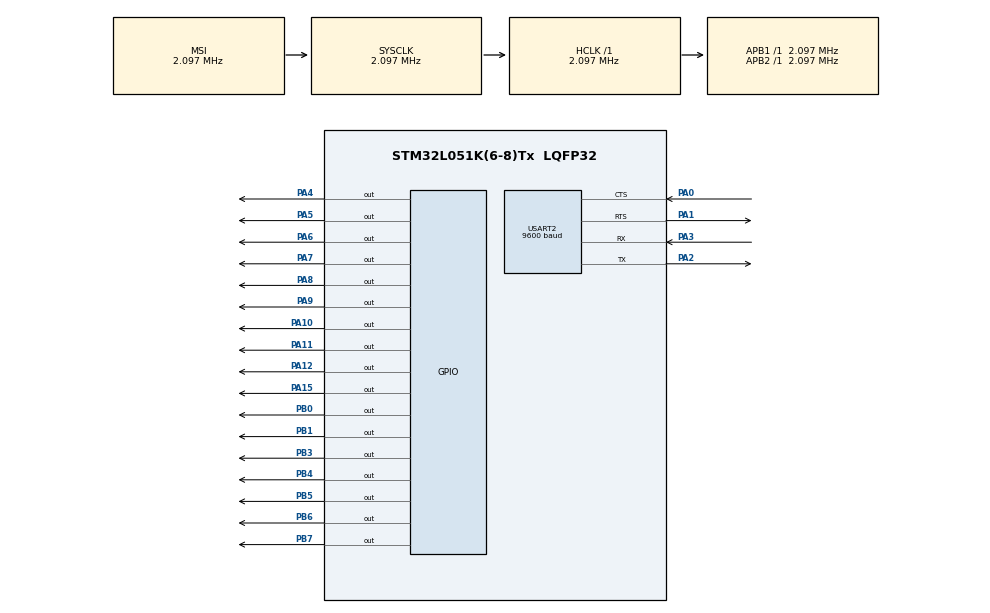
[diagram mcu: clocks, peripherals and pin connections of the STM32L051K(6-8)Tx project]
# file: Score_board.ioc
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Dma.Request0=USART2_RX
Dma.Request1=USART2_TX
Dma.USART2_RX.0.Direction=DMA_PERIPH_TO_MEMORY
Dma.USART2_RX.0.Instance=DMA1_Channel5
Dma.USART2_RX.0.MemDataAlignment=DMA_MDATAALIGN_BYTE
Dma.USART2_RX.0.MemInc=DMA_MINC_ENABLE
Dma.USART2_RX.0.Mode=DMA_CIRCULAR
Dma.USART2_RX.0.PeriphDataAlignment=DMA_PDATAALIGN_BYTE
Dma.USART2_RX.0.PeriphInc=DMA_PINC_DISABLE
Dma.USART2_RX.0.Priority=DMA_PRIORITY_LOW
Dma.USART2_RX.0.Request=DMA_REQUEST_4
Dma.USART2_TX.1.Direction=DMA_MEMORY_TO_PERIPH
Dma.USART2_TX.1.Instance=DMA1_Channel4
Dma.USART2_TX.1.MemDataAlignment=DMA_MDATAALIGN_BYTE
Dma.USART2_TX.1.MemInc=DMA_MINC_ENABLE
Dma.USART2_TX.1.Mode=DMA_NORMAL
Dma.USART2_TX.1.PeriphDataAlignment=DMA_PDATAALIGN_BYTE
Dma.USART2_TX.1.PeriphInc=DMA_PINC_DISABLE
Dma.USART2_TX.1.Priority=DMA_PRIORITY_LOW
Dma.USART2_TX.1.Request=DMA_REQUEST_4
Mcu.Family=STM32L0
Mcu.Name=STM32L051K(6-8)Tx
Mcu.Package=LQFP32
NVIC.DMA1_Channel4_5_6_7_IRQn=true\:0\:0\:false
NVIC.USART2_IRQn=true\:0\:0\:false
PA0-WKUP.Mode=CTS_RTS
PA0-WKUP.Signal=USART2_CTS
PA1.Mode=CTS_RTS
PA1.Signal=USART2_RTS
PA10.GPIO_ModeDefaultOutputPP=GPIO_MODE_OUTPUT_OD
PA10.GPIO_PuPd=GPIO_NOPULL
PA10.GPIO_Speed=GPIO_SPEED_LOW
PA10.Signal=GPIO_Output
PA11.GPIO_ModeDefaultOutputPP=GPIO_MODE_OUTPUT_OD
PA11.GPIO_PuPd=GPIO_NOPULL
PA11.GPIO_Speed=GPIO_SPEED_LOW
PA11.Signal=GPIO_Output
PA12.GPIO_ModeDefaultOutputPP=GPIO_MODE_OUTPUT_OD
PA12.GPIO_PuPd=GPIO_NOPULL
PA12.GPIO_Speed=GPIO_SPEED_LOW
PA12.Signal=GPIO_Output
PA15.GPIO_ModeDefaultOutputPP=GPIO_MODE_OUTPUT_OD
PA15.GPIO_PuPd=GPIO_NOPULL
PA15.GPIO_Speed=GPIO_SPEED_LOW
PA15.Signal=GPIO_Output
PA2.Mode=Asynchronous
PA2.Signal=USART2_TX
PA3.Mode=Asynchronous
PA3.Signal=USART2_RX
PA4.GPIO_ModeDefaultOutputPP=GPIO_MODE_OUTPUT_PP
PA4.GPIO_PuPd=GPIO_PULLDOWN
PA4.GPIO_Speed=GPIO_SPEED_LOW
PA4.Signal=GPIO_Output
PA5.GPIO_ModeDefaultOutputPP=GPIO_MODE_OUTPUT_PP
PA5.GPIO_PuPd=GPIO_PULLDOWN
PA5.GPIO_Speed=GPIO_SPEED_LOW
PA5.Signal=GPIO_Output
PA6.GPIO_ModeDefaultOutputPP=GPIO_MODE_OUTPUT_PP
PA6.GPIO_PuPd=GPIO_PULLDOWN
PA6.GPIO_Speed=GPIO_SPEED_LOW
PA6.Signal=GPIO_Output
PA7.GPIO_ModeDefaultOutputPP=GPIO_MODE_OUTPUT_PP
PA7.GPIO_PuPd=GPIO_PULLDOWN
PA7.GPIO_Speed=GPIO_SPEED_LOW
PA7.Signal=GPIO_Output
PA8.GPIO_ModeDefaultOutputPP=GPIO_MODE_OUTPUT_PP
PA8.GPIO_PuPd=GPIO_PULLDOWN
PA8.GPIO_Speed=GPIO_SPEED_LOW
PA8.Signal=GPIO_Output
PA9.GPIO_ModeDefaultOutputPP=GPIO_MODE_OUTPUT_OD
PA9.GPIO_PuPd=GPIO_NOPULL
PA9.GPIO_Speed=GPIO_SPEED_LOW
PA9.Signal=GPIO_Output
PB0.GPIO_ModeDefaultOutputPP=GPIO_MODE_OUTPUT_PP
PB0.GPIO_PuPd=GPIO_PULLDOWN
PB0.GPIO_Speed=GPIO_SPEED_LOW
PB0.Signal=GPIO_Output
PB1.GPIO_ModeDefaultOutputPP=GPIO_MODE_OUTPUT_PP
PB1.GPIO_PuPd=GPIO_PULLDOWN
PB1.GPIO_Speed=GPIO_SPEED_LOW
PB1.Signal=GPIO_Output
PB3.GPIO_ModeDefaultOutputPP=GPIO_MODE_OUTPUT_OD
PB3.GPIO_PuPd=GPIO_NOPULL
PB3.GPIO_Speed=GPIO_SPEED_LOW
PB3.Signal=GPIO_Output
PB4.GPIO_ModeDefaultOutputPP=GPIO_MODE_OUTPUT_OD
PB4.GPIO_PuPd=GPIO_NOPULL
PB4.GPIO_Speed=GPIO_SPEED_LOW
PB4.Signal=GPIO_Output
PB5.GPIO_ModeDefaultOutputPP=GPIO_MODE_OUTPUT_OD
PB5.GPIO_PuPd=GPIO_NOPULL
PB5.GPIO_Speed=GPIO_SPEED_LOW
PB5.Signal=GPIO_Output
PB6.GPIO_ModeDefaultOutputPP=GPIO_MODE_OUTPUT_OD
PB6.GPIO_PuPd=GPIO_NOPULL
PB6.GPIO_Speed=GPIO_SPEED_LOW
PB6.Signal=GPIO_Output
PB7.GPIO_ModeDefaultOutputPP=GPIO_MODE_OUTPUT_OD
PB7.GPIO_PuPd=GPIO_NOPULL
PB7.GPIO_Speed=GPIO_SPEED_LOW
PB7.Signal=GPIO_Output
ProjectManager.TargetToolchain=MDK-ARM 5.10
RCC.AHBFreq_Value=2097000
RCC.APB1Freq_Value=2097000
RCC.APB1TimFreq_Value=2097000
RCC.APB2Freq_Value=2097000
RCC.APB2TimFreq_Value=2097000
RCC.ClockTypeSysClk=RCC_CLOCKTYPE_SYSCLK
RCC.HSI16_VALUE=16000000
RCC.HSI_VALUE=16000000
RCC.LSE_VALUE=32768
RCC.MSI_VALUE=2097000
RCC.SYSCLKFreq_VALUE=2097000
RCC.Usart2ClockSelection=RCC_USART2CLKSOURCE_HSI
RCC.VCOOutputFreq_Value=48000000
USART2.BaudRate=9600
USART2.WordLength-Asynchronous=UART_WORDLENGTH_8B

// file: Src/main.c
/**
  ******************************************************************************
  * File Name          : main.c
  * Date               : 31/10/2015 14:45:13
  * Description        : Main program body
  ******************************************************************************
  *
  * COPYRIGHT(c) 2015 STMicroelectronics
  *
  * Redistribution and use in source and binary forms, with or without modification,
  * are permitted provided that the following conditions are met:
  *   1. Redistributions of source code must retain the above copyright notice,
  *      this list of conditions and the following disclaimer.
  *   2. Redistributions in binary form must reproduce the above copyright notice,
  *      this list of conditions and the following disclaimer in the documentation
  *      and/or other materials provided with the distribution.
  *   3. Neither the name of STMicroelectronics nor the names of its contributors
  *      may be used to endorse or promote products derived from this software
  *      without specific prior written permission.
  *
  * THIS SOFTWARE IS PROVIDED BY THE COPYRIGHT HOLDERS AND CONTRIBUTORS "AS IS"
  * AND ANY EXPRESS OR IMPLIED WARRANTIES, INCLUDING, BUT NOT LIMITED TO, THE
  * IMPLIED WARRANTIES OF MERCHANTABILITY AND FITNESS FOR A PARTICULAR PURPOSE ARE
  * DISCLAIMED. IN NO EVENT SHALL THE COPYRIGHT HOLDER OR CONTRIBUTORS BE LIABLE
  * FOR ANY DIRECT, INDIRECT, INCIDENTAL, SPECIAL, EXEMPLARY, OR CONSEQUENTIAL
  * DAMAGES (INCLUDING, BUT NOT LIMITED TO, PROCUREMENT OF SUBSTITUTE GOODS OR
  * SERVICES; LOSS OF USE, DATA, OR PROFITS; OR BUSINESS INTERRUPTION) HOWEVER
  * CAUSED AND ON ANY THEORY OF LIABILITY, WHETHER IN CONTRACT, STRICT LIABILITY,
  * OR TORT (INCLUDING NEGLIGENCE OR OTHERWISE) ARISING IN ANY WAY OUT OF THE USE
  * OF THIS SOFTWARE, EVEN IF ADVISED OF THE POSSIBILITY OF SUCH DAMAGE.
  *
  ******************************************************************************
  */

#include "stm32l0xx_hal.h"

/* USER CODE BEGIN Includes */
#include "main.h"
#define Set_LED(num) HAL_GPIO_WritePin(seven_pin[num].GPIOx, seven_pin[num].on_off, GPIO_PIN_SET)
/* USER CODE END Includes */

UART_HandleTypeDef huart2;
DMA_HandleTypeDef hdma_usart2_rx;
DMA_HandleTypeDef hdma_usart2_tx;

/* USER CODE BEGIN PV */
uint8_t UART_Rx_Buffer;
uint8_t UART_Tx_Buffer;
/* USER CODE END PV */

void SystemClock_Config(void);
static void MX_GPIO_Init(void);
static void MX_DMA_Init(void);
static void MX_USART2_UART_Init(void);

/* USER CODE BEGIN PFP */
static void Error_Handler(void);
/* USER CODE END PFP */

/* USER CODE BEGIN 0 */

/*----------------------------------------------------------------------------
  SysTick_Handler
 *----------------------------------------------------------------------------*/

void SysTick_Handler(void)
{
	HAL_IncTick();
	HAL_SYSTICK_IRQHandler();

	if(TimeDelay != 0)
		TimeDelay--;

	if(count_field == 0)
		buzzer();

	if(pause_flag)
	{
		if(count_pause != 0)
			count_pause--;
		else
			buzzer();
		return ;
	}

	if(count_24_sec != 0)
		count_24_sec--;
	else
	{
		if(!disable_24_flag)
		{
			//stop();
			buzzer();
		}
	}
	if(count_field != 0)
		count_field--;

}

/*----------------------------------------------------------------------------
  delays number of tick Systicks
 *----------------------------------------------------------------------------*/
void Delay (int ntime) {
  TimeDelay = ntime;
  while (TimeDelay!=0);
}

struct control_power control[MAX_7_SEGAMENT_LED_NUMBER];
struct control_power buzzers[Buzzer_NUM];
struct control_power seven_pin[7];

/*
start  0
stop   1
pause  2
long pause 3
short pause 4
restart  5
24 sec reset 6

A+1   7
A+2   8
A+3   9
A-1   a

B+1   b
B+2   c
B+3   d
B-1   e

min++  f
min--  g

sec++  h
sec--  i
scores swap  j
*/

void reset_led(){

	HAL_GPIO_WritePin(GPIOA,GPIO_PIN_4,GPIO_PIN_RESET);
	HAL_GPIO_WritePin(GPIOA,GPIO_PIN_5,GPIO_PIN_RESET);
	HAL_GPIO_WritePin(GPIOA,GPIO_PIN_6,GPIO_PIN_RESET);
	HAL_GPIO_WritePin(GPIOA,GPIO_PIN_7,GPIO_PIN_RESET);
	HAL_GPIO_WritePin(GPIOA,GPIO_PIN_8,GPIO_PIN_RESET);
	HAL_GPIO_WritePin(GPIOB,GPIO_PIN_0,GPIO_PIN_RESET);
	HAL_GPIO_WritePin(GPIOB,GPIO_PIN_1,GPIO_PIN_RESET);
}
void control_array_init()
{

	control[0].GPIOx=GPIOA;
	control[0].on_off=GPIO_PIN_9;

	control[1].GPIOx=GPIOA;
	control[1].on_off=GPIO_PIN_10;

	control[2].GPIOx=GPIOA;
	control[2].on_off=GPIO_PIN_11;

	control[3].GPIOx=GPIOA;
	control[3].on_off=GPIO_PIN_12;

	control[4].GPIOx=GPIOA;
	control[4].on_off=GPIO_PIN_15;

	control[5].GPIOx=GPIOB;
	control[5].on_off=GPIO_PIN_3;

	control[6].GPIOx=GPIOB;
	control[6].on_off=GPIO_PIN_4;

	control[7].GPIOx=GPIOB;
	control[7].on_off=GPIO_PIN_5;

	control[8].GPIOx=GPIOB;
	control[8].on_off=GPIO_PIN_6;

	control[9].GPIOx=GPIOB;
	control[9].on_off=GPIO_PIN_7;

	seven_pin[0].GPIOx=GPIOA;
	seven_pin[0].on_off=GPIO_PIN_8;

	seven_pin[1].GPIOx=GPIOA;
	seven_pin[1].on_off=GPIO_PIN_5;

	seven_pin[2].GPIOx=GPIOA;
	seven_pin[2].on_off=GPIO_PIN_6;

	seven_pin[3].GPIOx=GPIOA;
	seven_pin[3].on_off=GPIO_PIN_7;

	seven_pin[4].GPIOx=GPIOB;
	seven_pin[4].on_off=GPIO_PIN_0;

	seven_pin[5].GPIOx=GPIOB;
	seven_pin[5].on_off=GPIO_PIN_1;

	seven_pin[6].GPIOx=GPIOA;
	seven_pin[6].on_off=GPIO_PIN_4;
}

void shownumber(unsigned int No_led, unsigned int number)
{

	int count=0;
	reset_led();
	for(;count<MAX_7_SEGAMENT_LED_NUMBER;count++)//switch to the target led
	{
			HAL_GPIO_WritePin(control[count].GPIOx,control[count].on_off,GPIO_PIN_SET);
	}
	HAL_GPIO_WritePin(control[No_led].GPIOx,control[No_led].on_off,GPIO_PIN_RESET);
	switch(number)
	{
		case 0:
			Set_LED(0);
			Set_LED(1);
			Set_LED(2);
			Set_LED(3);
			Set_LED(4);
			Set_LED(5);
		break;
		case 1:
			Set_LED(4);
			Set_LED(5);
			break;
		case 2:
			Set_LED(0);
			Set_LED(2);
			Set_LED(3);
			Set_LED(5);
			Set_LED(6);
			break;
		case 3:
			Set_LED(0);
			Set_LED(3);
			Set_LED(4);
			Set_LED(5);
			Set_LED(6);
			break;
		case 4:
			Set_LED(1);
			Set_LED(4);
			Set_LED(5);
			Set_LED(6);
			break;
		case 5:
			Set_LED(0);
			Set_LED(1);
			Set_LED(3);
			Set_LED(4);
			Set_LED(6);
			break;
		case 6:
			Set_LED(0);
			Set_LED(1);
			Set_LED(2);
			Set_LED(3);
			Set_LED(4);
			Set_LED(6);
			break;
		case 7:
			Set_LED(0);
			Set_LED(1);
			Set_LED(4);
			Set_LED(5);
			break;
		case 8:
			Set_LED(0);
			Set_LED(1);
			Set_LED(2);
			Set_LED(3);
			Set_LED(4);
			Set_LED(5);
			Set_LED(6);
			break;
		case 9:
			Set_LED(0);
			Set_LED(1);
			Set_LED(3);
			Set_LED(4);
			Set_LED(5);
			Set_LED(6);
			break;
		default:
			break;
	}
	//HAL_Delay(2);
}
int check = 0;
void refresh_led()
{
/*	if(check == 0)
	{
		start();
		check=1;
	}
*/
/*----------------24 sec----------------*/
	unsigned int k=0;
	if(count_pause!=0 && pause_flag==1)//pause
		k=(count_pause/1000+((count_pause%1000)!=0))%60;
	else
		k=(count_24_sec/1000+((count_24_sec%1000)!=0))%60;//equal to ceil
	shownumber(LED_8,k/10);
	HAL_Delay(3);
	shownumber(LED_9,k%10);
		HAL_Delay(2);
/*----------------time------------------*/
	unsigned int j=(count_field/1000+((count_field%1000)!=0));
	unsigned int min=j/60,sec=j%60;
	shownumber(LED_0,sec%10);
	HAL_Delay(3);
	shownumber(LED_1,(sec/10)%6);
	HAL_Delay(2);
	shownumber(LED_2,min%10);
	HAL_Delay(2);
	if((min/10)%10 > 0){
		shownumber(LED_3,(min/10)%10);
		HAL_Delay(2);
	}
/*--------------score 1-----------------*/
  shownumber(LED_4,score[1]/10);
		HAL_Delay(2);
	shownumber(LED_5,score[1]%10);
		HAL_Delay(2);
/*--------------score 2-----------------*/
	shownumber(LED_6,score[0]/10);
		HAL_Delay(2);
	shownumber(LED_7,score[0]%10);
		HAL_Delay(2);
	//HAL_Delay(4);
/*	shownumber(LED_0, 8);
	shownumber(LED_1, 8);
	shownumber(LED_2, 2);
	shownumber(LED_3, 3);
	shownumber(LED_4, 4);
	shownumber(LED_5, 5);
	shownumber(LED_0, 6);
	shownumber(LED_1, 7);
	shownumber(LED_2, 8);
	shownumber(LED_3, 9); */

return ;
}

void set_count_time(unsigned int time0,unsigned int time1,unsigned int time2,unsigned int time3,unsigned int time4)
{
	field_time=count_field=time0*1000;
	field_pause=time1*1000;
	time_24=count_24_sec=time2*1000;
	time_14=14*time_24/24;
	long_pause=time3*1000;
	short_pause=time4*1000;
	count_pause=0;
	return ;
}

void modify_scores(int *target,int modify)
{
	if((*target+modify)>0)
		*target+=modify;
	if(*target<0)  //prevent the condition of "2-3=-1"
		*target=0;
	return ;
}

void stop()
{
	pause_flag^=1;
	return;
}

void start()
{
	pause_flag^=1;
	return;
}

void pause(unsigned int type)
{
	if(type==0)//field pause
	{
		count_pause=field_pause;
	}
	else if(type==1)//short pause
	{
		count_pause=short_pause;
	}
	else if(type==2)//long pause
	{
		count_pause=long_pause;
	}
	pause_flag=1;
	return ;
}

void switch_field()
{
	score[0]=(score[0] ^ score[1]);
	score[1]=(score[0] ^ score[1]);
	score[0]=(score[0] ^ score[1]);
	switch_flag^=1;
	return ;
}

void reset_24_sec()
{
	count_24_sec=time_24;
	return ;
}

void reset_14_sec()
{
	count_24_sec=time_14;
	return ;
}

void modify_time(int min,int sec)
{
	if(pause_flag==0)return ;
	if((count_field+(min*60*1000))>=0)
	count_field+=(min*60*1000);
	if((count_field+(sec*1000))>=0)
	count_field+=(sec*1000);
	return ;
}

void restart(void)
{
	count_field=field_time;
	count_24_sec=time_24;
	pause_flag=1;
	return ;
}

void recover()
{

}

void buzzer()
{
	int i = 0;
	HAL_GPIO_WritePin(GPIOA,GPIO_PIN_0,GPIO_PIN_SET);
	for(i=0;i<100;i++);
	HAL_GPIO_WritePin(GPIOA,GPIO_PIN_0,GPIO_PIN_RESET);
	return;
}

void disable_24_sec()

{
	disable_24_flag^=1;
	count_24_sec^=24;
	return ;
}

void send_time()
{
	unsigned int j=(count_field/1000+((count_field%1000)!=0));
	unsigned int min=j/60,sec=j%60;
	char time[10]={'<','!','>',(char)((min/10)%10+'0'),(char)(min%10+'0'),':',(char)((sec/10)%6+'0'),(char)(sec%10+'0'),'\r','\n'};
	// USART_puts(USART1,time);
}

/* USER CODE END 0 */

int main(void)
{

  /* MCU Configuration----------------------------------------------------------*/

  /* Reset of all peripherals, Initializes the Flash interface and the Systick. */
  HAL_Init();

  /* Configure the system clock */
  SystemClock_Config();

  /* Initialize all configured peripherals */
  MX_GPIO_Init();
  MX_DMA_Init();
  MX_USART2_UART_Init();

  /* USER CODE BEGIN 2 */

   if(HAL_UART_Receive_DMA(&huart2, (uint8_t *)&UART_Rx_Buffer, 1) != HAL_OK)
  {
    Error_Handler();
  }
	if(HAL_UART_Transmit_DMA(&huart2, (uint8_t *)&UART_Tx_Buffer, 1) != HAL_OK)
  {
    Error_Handler();
  }

	set_count_time(600,60,24,60,30);

  /* USER CODE END 2 */

  /* USER CODE BEGIN 3 */

	HAL_GPIO_WritePin(GPIOA,GPIO_PIN_4,GPIO_PIN_RESET);
	HAL_GPIO_WritePin(GPIOA,GPIO_PIN_5,GPIO_PIN_RESET);
	HAL_GPIO_WritePin(GPIOA,GPIO_PIN_6,GPIO_PIN_RESET);
	HAL_GPIO_WritePin(GPIOA,GPIO_PIN_7,GPIO_PIN_RESET);
	HAL_GPIO_WritePin(GPIOA,GPIO_PIN_8,GPIO_PIN_RESET);
	HAL_GPIO_WritePin(GPIOB,GPIO_PIN_0,GPIO_PIN_RESET);
	HAL_GPIO_WritePin(GPIOB,GPIO_PIN_1,GPIO_PIN_RESET);
	HAL_GPIO_WritePin(GPIOA,GPIO_PIN_0,GPIO_PIN_RESET);
	HAL_GPIO_WritePin(GPIOA,GPIO_PIN_1,GPIO_PIN_RESET);

	control_array_init();

	start();
  /* Infinite loop */
  while (1)
  {
		 refresh_led();
//		HAL_GPIO_WritePin(control[0].GPIOx,control[0].on_off,GPIO_PIN_RESET);
//		HAL_GPIO_WritePin(seven_pin[0].GPIOx,seven_pin[0].on_off,GPIO_PIN_SET);

		// Set_LED(1);

  }
  /* USER CODE END 3 */
}

/** System Clock Configuration
*/
void SystemClock_Config(void)
{

  RCC_OscInitTypeDef RCC_OscInitStruct;
  RCC_ClkInitTypeDef RCC_ClkInitStruct;
  RCC_PeriphCLKInitTypeDef PeriphClkInit;

  __PWR_CLK_ENABLE();

  __HAL_PWR_VOLTAGESCALING_CONFIG(PWR_REGULATOR_VOLTAGE_SCALE1);

  RCC_OscInitStruct.OscillatorType = RCC_OSCILLATORTYPE_HSI|RCC_OSCILLATORTYPE_MSI;
  RCC_OscInitStruct.HSIState = RCC_HSI_ON;
  RCC_OscInitStruct.HSICalibrationValue = 16;
  RCC_OscInitStruct.MSIState = RCC_MSI_ON;
  RCC_OscInitStruct.MSICalibrationValue = 0;
  RCC_OscInitStruct.MSIClockRange = RCC_MSIRANGE_5;
  RCC_OscInitStruct.PLL.PLLState = RCC_PLL_NONE;
  HAL_RCC_OscConfig(&RCC_OscInitStruct);

  RCC_ClkInitStruct.ClockType = RCC_CLOCKTYPE_SYSCLK;
  RCC_ClkInitStruct.SYSCLKSource = RCC_SYSCLKSOURCE_MSI;
  RCC_ClkInitStruct.AHBCLKDivider = RCC_SYSCLK_DIV1;
  RCC_ClkInitStruct.APB1CLKDivider = RCC_HCLK_DIV1;
  RCC_ClkInitStruct.APB2CLKDivider = RCC_HCLK_DIV1;
  HAL_RCC_ClockConfig(&RCC_ClkInitStruct, FLASH_LATENCY_0);

  PeriphClkInit.PeriphClockSelection = RCC_PERIPHCLK_USART2;
  PeriphClkInit.Usart2ClockSelection = RCC_USART2CLKSOURCE_HSI;
  HAL_RCCEx_PeriphCLKConfig(&PeriphClkInit);

  __SYSCFG_CLK_ENABLE();

}

/* USART2 init function */
void MX_USART2_UART_Init(void)
{

  huart2.Instance = USART2;
  huart2.Init.BaudRate = 9600;
  huart2.Init.WordLength = UART_WORDLENGTH_8B;
  huart2.Init.StopBits = UART_STOPBITS_1;
  huart2.Init.Parity = UART_PARITY_NONE;
  huart2.Init.Mode = UART_MODE_TX_RX;
  huart2.Init.HwFlowCtl = UART_HWCONTROL_RTS_CTS;
  huart2.Init.OverSampling = UART_OVERSAMPLING_16;
  huart2.Init.OneBitSampling = UART_ONEBIT_SAMPLING_DISABLED;
  huart2.AdvancedInit.AdvFeatureInit = UART_ADVFEATURE_NO_INIT;
  HAL_UART_Init(&huart2);

}

void MX_DMA_Init(void)
{
  /* DMA controller clock enable */
  __DMA1_CLK_ENABLE();

  /* DMA interrupt init */
  HAL_NVIC_SetPriority(DMA1_Channel4_5_6_7_IRQn, 0, 0);
  HAL_NVIC_EnableIRQ(DMA1_Channel4_5_6_7_IRQn);

}

/** Configure pins as
        * Analog
        * Input
        * Output
        * EVENT_OUT
        * EXTI
*/
void MX_GPIO_Init(void)
{

  GPIO_InitTypeDef GPIO_InitStruct;

  /* GPIO Ports Clock Enable */
  __GPIOA_CLK_ENABLE();
  __GPIOB_CLK_ENABLE();

  /*Configure GPIO pins : PA4 PA5 PA6 PA7
                           PA8 */
  GPIO_InitStruct.Pin = GPIO_PIN_4|GPIO_PIN_5|GPIO_PIN_6|GPIO_PIN_7
                          |GPIO_PIN_8;
  GPIO_InitStruct.Mode = GPIO_MODE_OUTPUT_PP;
  GPIO_InitStruct.Pull = GPIO_PULLDOWN;
  GPIO_InitStruct.Speed = GPIO_SPEED_LOW;
  HAL_GPIO_Init(GPIOA, &GPIO_InitStruct);

  /*Configure GPIO pins : PB0 PB1 */
  GPIO_InitStruct.Pin = GPIO_PIN_0|GPIO_PIN_1;
  GPIO_InitStruct.Mode = GPIO_MODE_OUTPUT_PP;
  GPIO_InitStruct.Pull = GPIO_PULLDOWN;
  GPIO_InitStruct.Speed = GPIO_SPEED_LOW;
  HAL_GPIO_Init(GPIOB, &GPIO_InitStruct);

  /*Configure GPIO pins : PA9 PA10 PA11 PA12
                           PA15 */
  GPIO_InitStruct.Pin = GPIO_PIN_9|GPIO_PIN_10|GPIO_PIN_11|GPIO_PIN_12
                          |GPIO_PIN_15;
  GPIO_InitStruct.Mode = GPIO_MODE_OUTPUT_OD;
  GPIO_InitStruct.Pull = GPIO_NOPULL;
  GPIO_InitStruct.Speed = GPIO_SPEED_LOW;
  HAL_GPIO_Init(GPIOA, &GPIO_InitStruct);

  /*Configure GPIO pins : PB3 PB4 PB5 PB6
                           PB7 */
  GPIO_InitStruct.Pin = GPIO_PIN_3|GPIO_PIN_4|GPIO_PIN_5|GPIO_PIN_6
                          |GPIO_PIN_7;
  GPIO_InitStruct.Mode = GPIO_MODE_OUTPUT_OD;
  GPIO_InitStruct.Pull = GPIO_NOPULL;
  GPIO_InitStruct.Speed = GPIO_SPEED_LOW;
  HAL_GPIO_Init(GPIOB, &GPIO_InitStruct);

}

/* USER CODE BEGIN 4 */
void HAL_UART_RxCpltCallback(UART_HandleTypeDef *huart)
{
//LED_On(1);
	// check if the USART1 receive interrupt flag was set
	//if( USART_GetITStatus(USART2, UART_IT_RXNE) )
	//{
		static uint8_t cnt = 0; // this counter is used to determine the string length
		int i = 0;
		//char test = '1';
	  char test = UART_Rx_Buffer;
		//while( i < MAX_STRLEN ){
	//		t = buffer[i++];
			switch (test)
			{
				case '0':start();
					// HAL_UART_Transmit_DMA(&huart2, (uint8_t *)&UART_Rx_Buffer, 1);
					break;
				case '1':stop();
					break;
				case '2':pause(0);
					break;
				case '3':pause(1);
					break;
				case '4':pause(2);
					break;
				case '5':restart();
					break;
				case '6':reset_24_sec();
					break;
				case '7':modify_scores(&score[0^switch_flag],1);send_time();
					break;
				case '8':modify_scores(&score[0^switch_flag],2);
					break;
				case '9':modify_scores(&score[0^switch_flag],3);
					break;
				case 'a':modify_scores(&score[0^switch_flag],-1);
					break;
				case 'b':modify_scores(&score[1^switch_flag],1);
					break;
				case 'c':modify_scores(&score[1^switch_flag],2);
					break;
				case 'd':modify_scores(&score[1^switch_flag],3);
					break;
				case 'e':modify_scores(&score[1^switch_flag],-1);
					break;
				case 'k':modify_scores(&score[0^switch_flag],-2);
					break;
				case 'l':modify_scores(&score[0^switch_flag],-3);
					break;
				case 'm':modify_scores(&score[1^switch_flag],-2);
					break;
				case 'n':modify_scores(&score[1^switch_flag],-3);
					break;
				case 'f':modify_time(1,0);
						break;
				case 'g':modify_time(-1,0);
						break;
				case 'h':modify_time(0,1);
						break;
				case 'i':modify_time(0,-1);
						break;
				case 'j':switch_field();
						break;
				case 'z':reset_14_sec();
						break;
				case 'y':disable_24_sec();
						break;

				default:
					break;
		}

		//HAL_StatusTypeDef HAL_UART_Receive_DMA(&huart, uint8_t *pData, uint16_t Size)

	//}

 }

 static void Error_Handler(void)
{
  while(1)
  {
  }
}
/* USER CODE END 4 */

/************************ (C) COPYRIGHT STMicroelectronics *****END OF FILE****/
